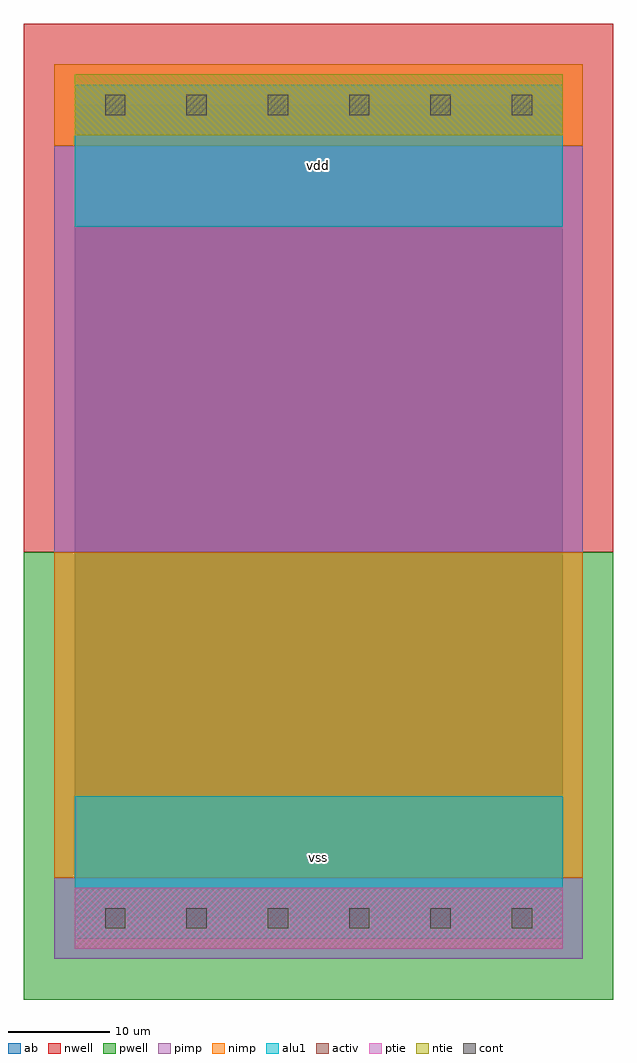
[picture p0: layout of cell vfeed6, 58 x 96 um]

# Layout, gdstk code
import gdstk
lib = gdstk.Library(unit=1e-6, precision=1e-09)
def R(c, l, rs):  # rectangles x0, y0, x1, y1
    for r in rs: c.add(gdstk.rectangle(r[:2], r[2:], *l))
def A(c, l, x, y, w, h, nx, ny, dx, dy):  # array of equal rectangles
    R(c, l, [(x+i*dx, y+j*dy, x+i*dx+w, y+j*dy+h) for i in range(nx) for j in range(ny)])
ntie = (5, 0)
ptie = (6, 0)
cont = (25, 0)
pwell = (41, 0)
nwell = (42, 0)
activ = (43, 0)
pimp = (44, 0)
nimp = (45, 0)
alu1 = (49, 0)
ab = (63, 0)

vfeed6 = lib.new_cell('vfeed6')
R(vfeed6, ntie, [(0,77,48,83)])
R(vfeed6, ptie, [(0,-3,48,3)])
A(vfeed6, cont, 3, -1, 2, 2, 6, 2, 8, 80)
R(vfeed6, pwell, [(-5,-8,53,36)])
R(vfeed6, nwell, [(-5,36,53,88)])
R(vfeed6, activ, [(0,-3,48,3), (0,77,48,83)])
R(vfeed6, pimp, [(-2,-4,50,4), (-2,36,50,76)])
R(vfeed6, nimp, [(-2,4,50,36), (-2,76,50,84)])
R(vfeed6, alu1, [(0,-2,48,12), (0,68,48,82)])
R(vfeed6, ab, [(0,0,48,80)])
vfeed6.add(gdstk.Label('vss', (24,6), layer=49, texttype=0))
vfeed6.add(gdstk.Label('vdd', (24,74), layer=49, texttype=0))

lib.write_gds('vfeed6.gds')
